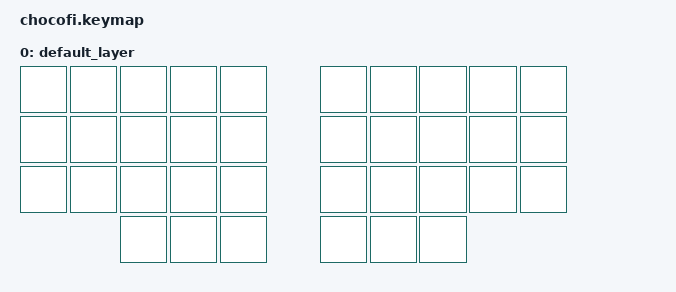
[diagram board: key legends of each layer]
/*
 * DEPRECATED — do not treat this file as the live Chocofi layout.
 *
 * Production / GHA builds pass:
 *   -DKEYMAP_FILE=config/temper.keymap       (macOS)
 *   -DKEYMAP_FILE=config/temper_linux.keymap (Linux)
 * so Chocofi and Temper share the same keymap source (36-key geometry).
 *
 * This shield file only exists so a bare west build without KEYMAP_FILE still
 * parses; it is intentionally a minimal stub. Edit config/temper*.keymap.
 *
 * SPDX-License-Identifier: MIT
 */

#include <behaviors.dtsi>
#include <dt-bindings/zmk/keys.h>

/ {
    keymap {
        compatible = "zmk,keymap";
        default_layer {
            bindings = <
                &none &none &none &none &none   &none &none &none &none &none
                &none &none &none &none &none   &none &none &none &none &none
                &none &none &none &none &none   &none &none &none &none &none
                            &none &none &none   &none &none &none
            >;
        };
    };
};
